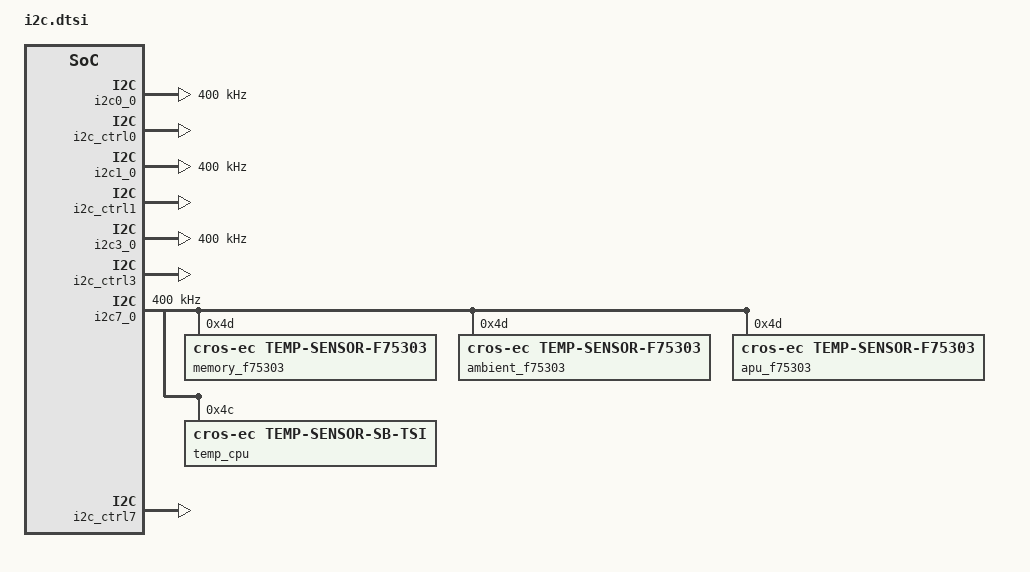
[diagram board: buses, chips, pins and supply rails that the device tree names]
/* Copyright 2024 The ChromiumOS Authors
 * Use of this source code is governed by a BSD-style license that can be
 * found in the LICENSE file.
 */

#include <dt-bindings/usb_pd_tcpm.h>

/ {
	aliases {
		i2c-0 = &i2c0_0;
		i2c-1 = &i2c1_0;
		i2c-3 = &i2c3_0;
		i2c-7 = &i2c7_0;
	};

	named-i2c-ports {
		compatible = "named-i2c-ports";
		i2c_hid_slave: hid_slave {
			i2c-port = <&i2c0_0>;
			enum-names = "I2C_PORT_HID_SLAVE";
		};
		i2c_cypd: cypd {
			i2c-port = <&i2c1_0>;
			enum-names = "I2C_PORT_PD_MCU0";
		};
		i2c_measure_power: measure_power{
			i2c-port = <&i2c3_0>;
			/**
			 * TODO:
			 * (https://github.com/FrameworkComputer/ec/pull/1183)
			 * Eventually change this to I2C_PORT_INA2XX.
			 */

			enum-names = "I2C_PORT_MASTER";
		};
		i2c_sensor: sensor {
			i2c-port = <&i2c7_0>;
			enum-names = "I2C_PORT_THERMAL_AP";
		};
	};
};

&i2c0_0 {
	status = "okay";
	label = "I2C_PORT0";
	clock-frequency = <I2C_BITRATE_FAST>;
	pinctrl-0 = <&i2c0_0_sda_scl_gpb4_b5>;
	pinctrl-names = "default";

	/**
	 * i2c1 bus is reserved to HID communication.
	 *
	 * -------- Important --------
	 * Can not delete this node
	 * ODM flash PD tool fix the PD i2c port index to 1 and 2.
	 * If we delete this node, the index in host command 0x009e will be wrong
	 * and cause flashing PD fail.
	 */
};

&i2c_ctrl0 {
	status = "okay";
};

&i2c1_0 {
	status = "okay";
	label = "I2C_PORT1";
	clock-frequency = <I2C_BITRATE_FAST>;
	pinctrl-0 = <&i2c1_0_sda_scl_gp87_90>;
	pinctrl-names = "default";

	/**
	 * i2c1 bus is used to communicate with PD chip
	 *
	 * Note: cypd pd chips does not yet support binding to the device tree
	 * entry, so this won't do anything
	 */
};

&i2c_ctrl1 {
	status = "okay";
};

&i2c3_0 {
	status = "okay";
	label = "I2C_PORT3";
	clock-frequency = <I2C_BITRATE_FAST>;
	pinctrl-0 = <&i2c3_0_sda_scl_gpd0_d1>;
	pinctrl-names = "default";

	/**
	 * i2c3 bus is used to communicate with power meter INA236
	 *
	 * Note: ina2xx driver does not support binding to the device tree
	 * entry, so this won't do anything
	 */};

&i2c_ctrl3 {
	status = "okay";
};

&i2c7_0 {
	status = "okay";
	label = "I2C_PORT7";
	clock-frequency = <I2C_BITRATE_FAST>;
	pinctrl-0 = <&i2c7_0_sda_scl_gpb2_b3>;
	pinctrl-names = "default";

	/* Qth1 */
	memory_f75303: memory_f75303@4d {
		compatible = "cros-ec,temp-sensor-f75303";
		temperature-type = "F75303_IDX_REMOTE1";
		reg = <0x4d>;
	};

	/* Qth2 */
	ambient_f75303: ambient_f75303@4d {
		compatible = "cros-ec,temp-sensor-f75303";
		temperature-type = "F75303_IDX_REMOTE2";
		reg = <0x4d>;
	};

	/* Uth1 */
	apu_f75303: apu_f75303@4d {
		compatible = "cros-ec,temp-sensor-f75303";
		temperature-type = "F75303_IDX_LOCAL";
		reg = <0x4d>;
	};

	temp_cpu: cpu@4c {
		compatible = "cros-ec,temp-sensor-sb-tsi";
		reg = <0x4c>;
	};
};

&i2c_ctrl7 {
	status = "okay";
};
